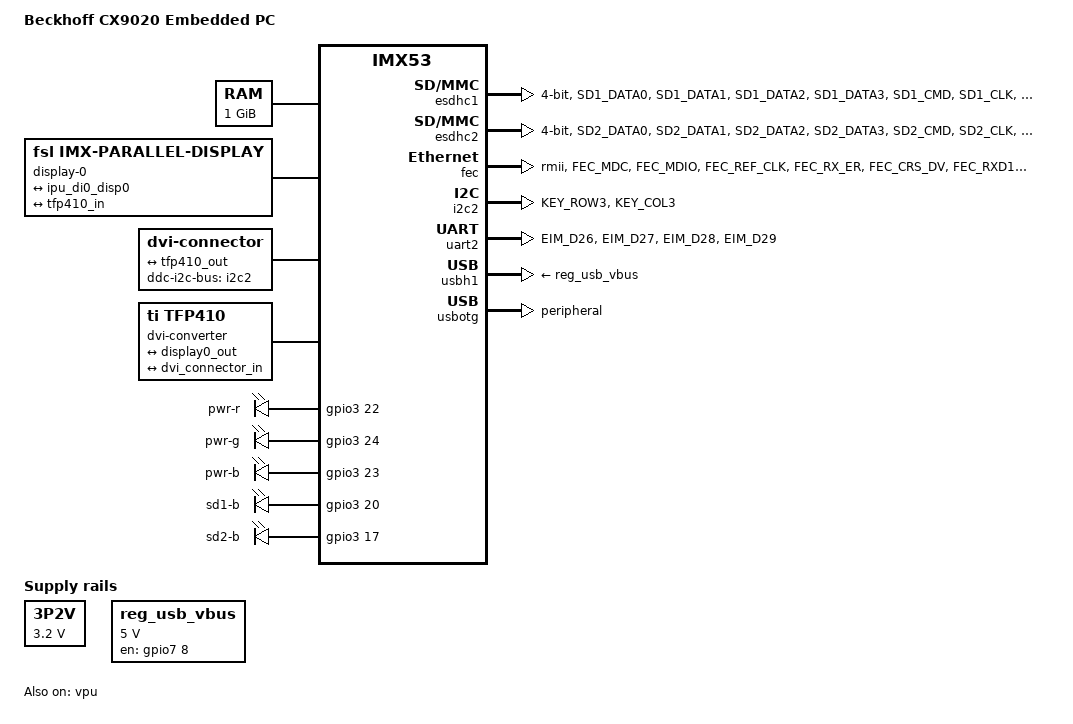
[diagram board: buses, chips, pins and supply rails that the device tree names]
/*
 * Copyright 2017 Beckhoff Automation GmbH & Co. KG
 * based on imx53-qsb.dts
 *
 * The code contained herein is licensed under the GNU General Public
 * License. You may obtain a copy of the GNU General Public License
 * Version 2 or later at the following locations:
 *
 * http://www.opensource.org/licenses/gpl-license.html
 * http://www.gnu.org/copyleft/gpl.html
 */

/dts-v1/;
#include "imx53.dtsi"

/ {
	model = "Beckhoff CX9020 Embedded PC";
	compatible = "bhf,cx9020", "fsl,imx53";

	chosen {
		stdout-path = &uart2;
	};

	memory {
		reg = <0x70000000 0x20000000>,
		      <0xb0000000 0x20000000>;
	};

	display-0 {
		#address-cells =<1>;
		#size-cells = <0>;
		compatible = "fsl,imx-parallel-display";
		interface-pix-fmt = "rgb24";
		pinctrl-names = "default";
		pinctrl-0 = <&pinctrl_ipu_disp0>;

		port@0 {
			reg = <0>;

			display0_in: endpoint {
				remote-endpoint = <&ipu_di0_disp0>;
			};
		};

		port@1 {
			reg = <1>;

			display0_out: endpoint {
				remote-endpoint = <&tfp410_in>;
			};
		};
	};

	dvi-connector {
		compatible = "dvi-connector";
		ddc-i2c-bus = <&i2c2>;
		digital;

		port {
			dvi_connector_in: endpoint {
				remote-endpoint = <&tfp410_out>;
			};
		};
	};

	dvi-converter {
		#address-cells = <1>;
		#size-cells = <0>;
		compatible = "ti,tfp410";

		port@0 {
			reg = <0>;

			tfp410_in: endpoint {
				remote-endpoint = <&display0_out>;
			};
		};

		port@1 {
			reg = <1>;

			tfp410_out: endpoint {
				remote-endpoint = <&dvi_connector_in>;
			};
		};
	};

	leds {
		compatible = "gpio-leds";

		pwr-r {
			gpios = <&gpio3 22 GPIO_ACTIVE_HIGH>;
			default-state = "off";
		};

		pwr-g {
			gpios = <&gpio3 24 GPIO_ACTIVE_HIGH>;
			default-state = "on";
		};

		pwr-b {
			gpios = <&gpio3 23 GPIO_ACTIVE_HIGH>;
			default-state = "off";
		};

		sd1-b {
			linux,default-trigger = "mmc0";
			gpios = <&gpio3 20 GPIO_ACTIVE_HIGH>;
		};

		sd2-b {
			linux,default-trigger = "mmc1";
			gpios = <&gpio3 17 GPIO_ACTIVE_HIGH>;
		};
	};

	regulator-3p2v {
		compatible = "regulator-fixed";
		regulator-name = "3P2V";
		regulator-min-microvolt = <3200000>;
		regulator-max-microvolt = <3200000>;
		regulator-always-on;
	};

	reg_usb_vbus: regulator-vbus {
		compatible = "regulator-fixed";
		regulator-name = "usb_vbus";
		regulator-min-microvolt = <5000000>;
		regulator-max-microvolt = <5000000>;
		gpio = <&gpio7 8 GPIO_ACTIVE_HIGH>;
		enable-active-high;
	};
};

&esdhc1 {
	pinctrl-names = "default";
	pinctrl-0 = <&pinctrl_esdhc1>;
	cd-gpios = <&gpio1 1 GPIO_ACTIVE_LOW>;
	bus-width = <4>;
	status = "okay";
};

&esdhc2 {
	pinctrl-names = "default";
	pinctrl-0 = <&pinctrl_esdhc2>;
	cd-gpios = <&gpio1 4 GPIO_ACTIVE_LOW>;
	bus-width = <4>;
	status = "okay";
};

&fec {
	pinctrl-names = "default";
	pinctrl-0 = <&pinctrl_fec>;
	phy-mode = "rmii";
	phy-reset-gpios = <&gpio7 6 GPIO_ACTIVE_LOW>;
	status = "okay";
};

&i2c2 {
	pinctrl-names = "default";
	pinctrl-0 = <&pinctrl_i2c2>;
	status = "okay";
};

&ipu_di0_disp0 {
	remote-endpoint = <&display0_in>;
};

&uart2 {
	pinctrl-names = "default";
	pinctrl-0 = <&pinctrl_uart2>;
	fsl,dte-mode;
	status = "okay";
};

&usbh1 {
	vbus-supply = <&reg_usb_vbus>;
	phy_type = "utmi";
	status = "okay";
};

&usbotg {
	dr_mode = "peripheral";
	status = "okay";
};

&vpu {
	status = "okay";
};

&iomuxc {
	pinctrl-names = "default";
	pinctrl-0 = <&pinctrl_hog>;

	pinctrl_hog: hoggrp {
		fsl,pins = <
			MX53_PAD_GPIO_0__CCM_CLKO               0x1c4
			MX53_PAD_GPIO_16__I2C3_SDA              0x1c4
			MX53_PAD_EIM_D22__GPIO3_22              0x1c4
			MX53_PAD_EIM_D23__GPIO3_23              0x1e4
			MX53_PAD_EIM_D24__GPIO3_24              0x1e4
		>;
	};

	pinctrl_esdhc1: esdhc1grp {
		fsl,pins = <
			MX53_PAD_SD1_DATA0__ESDHC1_DAT0		0x1d5
			MX53_PAD_SD1_DATA1__ESDHC1_DAT1		0x1d5
			MX53_PAD_SD1_DATA2__ESDHC1_DAT2		0x1d5
			MX53_PAD_SD1_DATA3__ESDHC1_DAT3		0x1d5
			MX53_PAD_SD1_CMD__ESDHC1_CMD		0x1d5
			MX53_PAD_SD1_CLK__ESDHC1_CLK		0x1d5
			MX53_PAD_GPIO_1__ESDHC1_CD              0x1c4
			MX53_PAD_EIM_D17__GPIO3_17              0x1e4
			MX53_PAD_GPIO_3__GPIO1_3                0x1c4
		>;
	};

	pinctrl_esdhc2: esdhc2grp {
		fsl,pins = <
			MX53_PAD_SD2_DATA0__ESDHC2_DAT0		0x1d5
			MX53_PAD_SD2_DATA1__ESDHC2_DAT1		0x1d5
			MX53_PAD_SD2_DATA2__ESDHC2_DAT2		0x1d5
			MX53_PAD_SD2_DATA3__ESDHC2_DAT3		0x1d5
			MX53_PAD_SD2_CMD__ESDHC2_CMD		0x1d5
			MX53_PAD_SD2_CLK__ESDHC2_CLK		0x1d5
			MX53_PAD_GPIO_4__ESDHC2_CD              0x1e4
			MX53_PAD_EIM_D20__GPIO3_20              0x1e4
			MX53_PAD_GPIO_8__GPIO1_8                0x1c4
		>;
	};

	pinctrl_fec: fecgrp {
		fsl,pins = <
			MX53_PAD_FEC_MDC__FEC_MDC		0x4
			MX53_PAD_FEC_MDIO__FEC_MDIO		0x1fc
			MX53_PAD_FEC_REF_CLK__FEC_TX_CLK	0x180
			MX53_PAD_FEC_RX_ER__FEC_RX_ER		0x180
			MX53_PAD_FEC_CRS_DV__FEC_RX_DV		0x180
			MX53_PAD_FEC_RXD1__FEC_RDATA_1		0x180
			MX53_PAD_FEC_RXD0__FEC_RDATA_0		0x180
			MX53_PAD_FEC_TX_EN__FEC_TX_EN		0x4
			MX53_PAD_FEC_TXD1__FEC_TDATA_1		0x4
			MX53_PAD_FEC_TXD0__FEC_TDATA_0		0x4
		>;
	};

	pinctrl_i2c2: i2c2grp {
		fsl,pins = <
			MX53_PAD_KEY_ROW3__I2C2_SDA             0xc0000000
			MX53_PAD_KEY_COL3__I2C2_SCL             0xc0000000
		>;
	};

	pinctrl_ipu_disp0: ipudisp0grp {
		fsl,pins = <
			MX53_PAD_DI0_DISP_CLK__IPU_DI0_DISP_CLK	0x5
			MX53_PAD_DI0_PIN15__IPU_DI0_PIN15	0x5
			MX53_PAD_DI0_PIN2__IPU_DI0_PIN2		0x5
			MX53_PAD_DI0_PIN3__IPU_DI0_PIN3		0x5
			MX53_PAD_DI0_PIN4__IPU_DI0_PIN4		0x5
			MX53_PAD_DISP0_DAT0__IPU_DISP0_DAT_0	0x5
			MX53_PAD_DISP0_DAT1__IPU_DISP0_DAT_1	0x5
			MX53_PAD_DISP0_DAT2__IPU_DISP0_DAT_2	0x5
			MX53_PAD_DISP0_DAT3__IPU_DISP0_DAT_3	0x5
			MX53_PAD_DISP0_DAT4__IPU_DISP0_DAT_4	0x5
			MX53_PAD_DISP0_DAT5__IPU_DISP0_DAT_5	0x5
			MX53_PAD_DISP0_DAT6__IPU_DISP0_DAT_6	0x5
			MX53_PAD_DISP0_DAT7__IPU_DISP0_DAT_7	0x5
			MX53_PAD_DISP0_DAT8__IPU_DISP0_DAT_8	0x5
			MX53_PAD_DISP0_DAT9__IPU_DISP0_DAT_9	0x5
			MX53_PAD_DISP0_DAT10__IPU_DISP0_DAT_10	0x5
			MX53_PAD_DISP0_DAT11__IPU_DISP0_DAT_11	0x5
			MX53_PAD_DISP0_DAT12__IPU_DISP0_DAT_12	0x5
			MX53_PAD_DISP0_DAT13__IPU_DISP0_DAT_13	0x5
			MX53_PAD_DISP0_DAT14__IPU_DISP0_DAT_14	0x5
			MX53_PAD_DISP0_DAT15__IPU_DISP0_DAT_15	0x5
			MX53_PAD_DISP0_DAT16__IPU_DISP0_DAT_16	0x5
			MX53_PAD_DISP0_DAT17__IPU_DISP0_DAT_17	0x5
			MX53_PAD_DISP0_DAT18__IPU_DISP0_DAT_18	0x5
			MX53_PAD_DISP0_DAT19__IPU_DISP0_DAT_19	0x5
			MX53_PAD_DISP0_DAT20__IPU_DISP0_DAT_20	0x5
			MX53_PAD_DISP0_DAT21__IPU_DISP0_DAT_21	0x5
			MX53_PAD_DISP0_DAT22__IPU_DISP0_DAT_22	0x5
			MX53_PAD_DISP0_DAT23__IPU_DISP0_DAT_23	0x5
		>;
	};

	pinctrl_uart2: uart2grp {
		fsl,pins = <
			MX53_PAD_EIM_D26__UART2_RXD_MUX	0x1e4
			MX53_PAD_EIM_D27__UART2_TXD_MUX 0x1e4
			MX53_PAD_EIM_D28__UART2_RTS 0x1e4
			MX53_PAD_EIM_D29__UART2_CTS 0x1e4
		>;
	};
};
